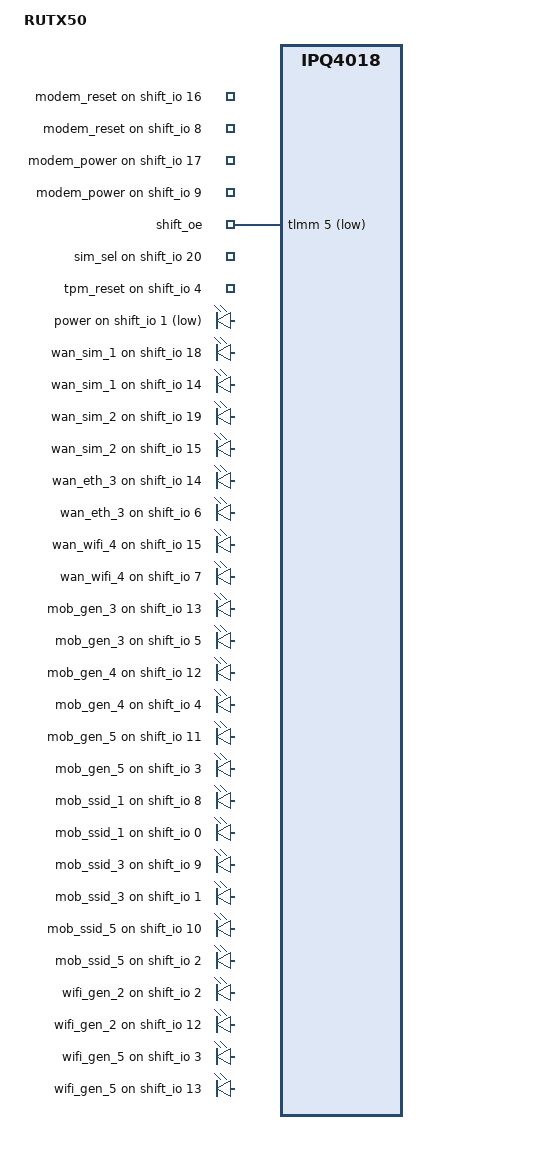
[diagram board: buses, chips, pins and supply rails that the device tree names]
#include "qcom-ipq4018-rutx-shiftreg.dtsi"

/ {
	model = "RUTX50";

	soc {

		gpio-export {
			compatible = "gpio-export";
			#size-cells = <0>;

			gpio_modem_reset@1 {
				tlt-mnf,hwver = <0 99 400 9999>;
				gpio-export,name = "modem_reset";
				gpio-export,output = <0>;
				gpios = <&shift_io 16 GPIO_ACTIVE_HIGH>;
			};

			gpio_modem_reset {
				tlt-mnf,hwver = <100 399>;
				gpio-export,name = "modem_reset";
				gpio-export,output = <0>;
				gpios = <&shift_io 8 GPIO_ACTIVE_HIGH>;
			};

			gpio_modem_power@1 {
				tlt-mnf,hwver = <0 99 400 9999>;
				gpio-export,name = "modem_power";
				gpio-export,output = <0>;
				gpios = <&shift_io 17 GPIO_ACTIVE_HIGH>;
			};

			gpio_modem_power {
				tlt-mnf,hwver = <100 399>;
				gpio-export,name = "modem_power";
				gpio-export,output = <0>;
				gpios = <&shift_io 9 GPIO_ACTIVE_HIGH>;
			};

			gpio_shift_oe {
				tlt-mnf,hwver = <400 9999>;
				gpio-export,name = "shift_oe";
				gpio-export,output = <0>;
				gpios = <&tlmm 5 GPIO_ACTIVE_LOW>;
			};

			gpio_sim_select {
				tlt-mnf,hwver = <400 9999>;
				gpio-export,name = "sim_sel";
				gpio-export,output = <0>;
				gpios = <&shift_io 20 GPIO_ACTIVE_HIGH>;
			};

			gpio_tpm_reset {
				tlt-mnf,hwver = <400 9999>;
				gpio-export,name = "tpm_reset";
				gpio-export,output = <1>;
				gpios = <&shift_io 4 GPIO_ACTIVE_HIGH>;
			};
		};

		leds {
			compatible = "gpio-leds";

			led_power {
				tlt-mnf,hwver = <400 9999>;
				label = "power";
				default-state = "on";
				gpios = <&shift_io 1 GPIO_ACTIVE_LOW>;
			};

			led_wan_sim1@1 {
				tlt-mnf,hwver = <400 9999>;
				label = "wan_sim_1";
				gpios = <&shift_io 18 GPIO_ACTIVE_HIGH>;
			};

			led_wan_sim1 {
				label = "wan_sim_1";
				gpios = <&shift_io 14 GPIO_ACTIVE_HIGH>;
			};

			led_wan_sim2@1 {
				tlt-mnf,hwver = <400 9999>;
				label = "wan_sim_2";
				gpios = <&shift_io 19 GPIO_ACTIVE_HIGH>;
			};

			led_wan_sim2 {
				label = "wan_sim_2";
				gpios = <&shift_io 15 GPIO_ACTIVE_HIGH>;
			};

			led_wan_eth@1 {
				tlt-mnf,hwver = <400 9999>;
				label = "wan_eth_3";
				gpios = <&shift_io 14 GPIO_ACTIVE_HIGH>;
			};

			led_wan_eth {
				label = "wan_eth_3";
				gpios = <&shift_io 6 GPIO_ACTIVE_HIGH>;
			};

			led_wan_wifi@1 {
				tlt-mnf,hwver = <400 9999>;
				label = "wan_wifi_4";
				gpios = <&shift_io 15 GPIO_ACTIVE_HIGH>;
			};

			led_wan_wifi {
				label = "wan_wifi_4";
				gpios = <&shift_io 7 GPIO_ACTIVE_HIGH>;
			};

			led_gen_3@1 {
				tlt-mnf,hwver = <400 9999>;
				label = "mob_gen_3";
				gpios = <&shift_io 13 GPIO_ACTIVE_HIGH>;
			};

			led_gen_3 {
				label = "mob_gen_3";
				gpios = <&shift_io 5 GPIO_ACTIVE_HIGH>;
			};

			led_gen_4@1 {
				tlt-mnf,hwver = <400 9999>;
				label = "mob_gen_4";
				gpios = <&shift_io 12 GPIO_ACTIVE_HIGH>;
			};

			led_gen_4 {
				label = "mob_gen_4";
				gpios = <&shift_io 4 GPIO_ACTIVE_HIGH>;
			};

			led_gen_5@1 {
				tlt-mnf,hwver = <400 9999>;
				label = "mob_gen_5";
				gpios = <&shift_io 11 GPIO_ACTIVE_HIGH>;
			};

			led_gen_5 {
				label = "mob_gen_5";
				gpios = <&shift_io 3 GPIO_ACTIVE_HIGH>;
			};

			led_ssid_1@1 {
				tlt-mnf,hwver = <400 9999>;
				label = "mob_ssid_1";
				gpios = <&shift_io 8 GPIO_ACTIVE_HIGH>;
				linux,default-trigger = "timer";
			};

			led_ssid_1 {
				label = "mob_ssid_1";
				gpios = <&shift_io 0 GPIO_ACTIVE_HIGH>;
				linux,default-trigger = "timer";
			};

			led_ssid_3@1 {
				tlt-mnf,hwver = <400 9999>;
				label = "mob_ssid_3";
				gpios = <&shift_io 9 GPIO_ACTIVE_HIGH>;
				linux,default-trigger = "timer";
			};

			led_ssid_3 {
				label = "mob_ssid_3";
				gpios = <&shift_io 1 GPIO_ACTIVE_HIGH>;
				linux,default-trigger = "timer";
			};

			led_ssid_5@1 {
				tlt-mnf,hwver = <400 9999>;
				label = "mob_ssid_5";
				gpios = <&shift_io 10 GPIO_ACTIVE_HIGH>;
				linux,default-trigger = "timer";
			};

			led_ssid_5 {
				label = "mob_ssid_5";
				gpios = <&shift_io 2 GPIO_ACTIVE_HIGH>;
				linux,default-trigger = "timer";
			};

			led_wifi_24@1 {
				tlt-mnf,hwver = <400 9999>;
				label = "wifi_gen_2";
				gpios = <&shift_io 2 GPIO_ACTIVE_HIGH>;
			};

			led_wifi_24 {
				label = "wifi_gen_2";
				gpios = <&shift_io 12 GPIO_ACTIVE_HIGH>;
			};

			led_wifi_50@1 {
				tlt-mnf,hwver = <400 9999>;
				label = "wifi_gen_5";
				gpios = <&shift_io 3 GPIO_ACTIVE_HIGH>;
			};

			led_wifi_50 {
				label = "wifi_gen_5";
				gpios = <&shift_io 13 GPIO_ACTIVE_HIGH>;
			};
		};
	};

	tlt_gpios { // Modify according to wiki page "DTS syntax with Libgpiod changes"
		gpiochip_info {
			hw_0 {
				hwver = <0>;
				gpiochip_count = <2>;

				gpiochip_0 = <100>; // Built-in
				gpiochip_1 = <24>;  // Shift Register
			};
		};

		ioman {
			GPIO_0 {
				compatible_versions = <0 99>;
				line_name = "GPIO_IN_1";
				active_low;
			};
			GPIO_100 {
				compatible_versions = <4 99>;
				line_name = "GPIO_OUT_1";
			};
			GPIO_110 {
				compatible_versions = <0 3>;
				line_name = "GPIO_OUT_1";
			};
		};

		misc {
			GPIO_105 {
				compatible_versions = <4 99>;
				line_name = "GPIO_SHIFT_OE";
				active_low;
			};
			GPIO_108 {
				compatible_versions = <0 3>;
				line_name = "GPIO_MODEM_RESET_1";
			};
			GPIO_116 {
				compatible_versions = <4 99>;
				line_name = "GPIO_MODEM_RESET_1";
			};
			GPIO_109 {
				compatible_versions = <0 3>;
				line_name = "GPIO_MODEM_POWER_1";
			};
			GPIO_117 {
				compatible_versions = <4 99>;
				line_name = "GPIO_MODEM_POWER_1";
			};
			GPIO_120 {
				compatible_versions = <4 99>;
				line_name = "GPIO_SIM_SELECT";
			};
		};
	};
};

&mnfinfo {
	sim_cfg {
		default = "1111020_1112020";
	};
};
